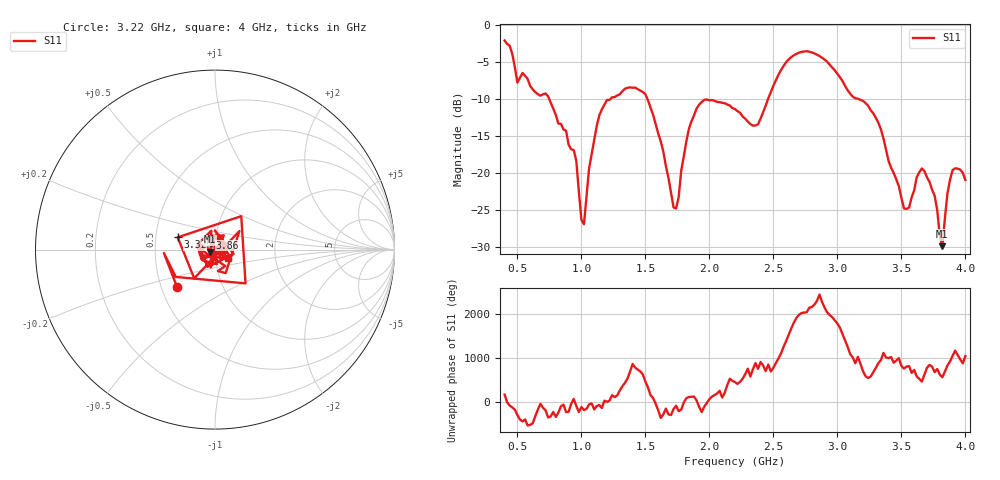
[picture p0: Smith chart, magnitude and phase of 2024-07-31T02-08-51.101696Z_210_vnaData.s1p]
!Created with skrf (http://scikit-rf.org).
# Hz S RI R 50.0
!freq ReS11 ImS11
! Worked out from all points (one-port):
!   181 points, 400 MHz to 4 GHz, reference 50 ohm
!   lowest |S11| = -29.9 dB at 3.82 GHz (marker M1), VSWR 1.07, Z = 47.1 - j1.04 ohm
!   |S11| at or under -10 dB: 749 MHz to 1.226 GHz (476.7 MHz wide, 48.3 % of centre); 1.516 GHz to 2.458 GHz (941.3 MHz wide, 47.4 % of centre); 3.168 GHz to end of sweep
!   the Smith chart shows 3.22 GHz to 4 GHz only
!   S11 on the Smith chart (normalised r, x): 3.22 GHz: 0.60, -0.28; 3.32 GHz: 0.65, +0.09; 3.86 GHz: 0.94, +0.13; 4 GHz: 1.16, -0.11
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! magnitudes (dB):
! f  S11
! 400 MHz  -2.0
! 500 MHz  -7.8
! 720 MHz  -9.2
! 860 MHz  -14.1
! 960 MHz  -18.4
! 1.02 GHz  -27.0
! 1.06 GHz  -19.4
! 1.14 GHz  -12.2
! 1.3 GHz  -9.3
! 1.5 GHz  -9.3
! 1.72 GHz  -24.7
! 1.76 GHz  -23.3
! 1.82 GHz  -15.7
! 1.9 GHz  -11.3
! 2.2 GHz  -11.3
! 2.38 GHz  -13.4
! 2.66 GHz  -4.0
! 2.88 GHz  -4.4
! 3.1 GHz  -9.3
! 3.22 GHz  -10.5
! 3.32 GHz  -13.2
! 3.56 GHz  -24.7
! 3.68 GHz  -19.8
! 3.76 GHz  -23.1
! 3.82 GHz  -29.9
! 3.86 GHz  -22.8
! 3.9 GHz  -19.6
! 4 GHz  -21.0
